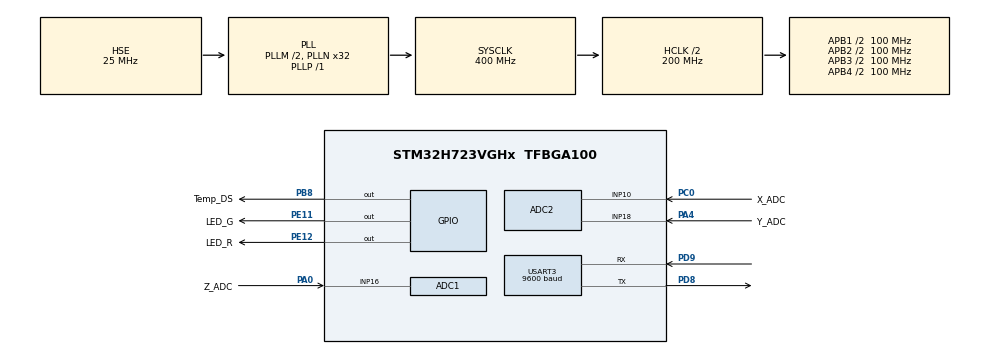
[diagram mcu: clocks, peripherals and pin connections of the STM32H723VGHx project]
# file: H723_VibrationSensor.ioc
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ADC1.Channel-3\#ChannelRegularConversion=ADC_CHANNEL_16
ADC1.ClockPrescaler=ADC_CLOCK_ASYNC_DIV2
ADC1.ContinuousConvMode=DISABLE
ADC1.ConversionDataManagement=ADC_CONVERSIONDATA_DMA_CIRCULAR
ADC1.ExternalTrigConv=ADC_EXTERNALTRIG_T2_TRGO
ADC1.NbrOfConversionFlag=1
ADC1.OffsetNumber-3\#ChannelRegularConversion=ADC_OFFSET_NONE
ADC1.OffsetSignedSaturation-3\#ChannelRegularConversion=DISABLE
ADC1.Overrun=ADC_OVR_DATA_OVERWRITTEN
ADC1.Rank-3\#ChannelRegularConversion=1
ADC1.SamplingTime-3\#ChannelRegularConversion=ADC_SAMPLETIME_64CYCLES_5
ADC1.master=1
ADC2.Channel-1\#ChannelRegularConversion=ADC_CHANNEL_10
ADC2.Channel-3\#ChannelRegularConversion=ADC_CHANNEL_18
ADC2.ClockPrescaler=ADC_CLOCK_ASYNC_DIV2
ADC2.ContinuousConvMode=DISABLE
ADC2.ConversionDataManagement=ADC_CONVERSIONDATA_DMA_CIRCULAR
ADC2.ExternalTrigConv=ADC_EXTERNALTRIG_T3_TRGO
ADC2.NbrOfConversion=2
ADC2.NbrOfConversionFlag=1
ADC2.OffsetNumber-1\#ChannelRegularConversion=ADC_OFFSET_NONE
ADC2.OffsetNumber-3\#ChannelRegularConversion=ADC_OFFSET_NONE
ADC2.OffsetSignedSaturation-1\#ChannelRegularConversion=DISABLE
ADC2.OffsetSignedSaturation-3\#ChannelRegularConversion=DISABLE
ADC2.Overrun=ADC_OVR_DATA_OVERWRITTEN
ADC2.Rank-1\#ChannelRegularConversion=1
ADC2.Rank-3\#ChannelRegularConversion=2
ADC2.SamplingTime-1\#ChannelRegularConversion=ADC_SAMPLETIME_8CYCLES_5
ADC2.SamplingTime-3\#ChannelRegularConversion=ADC_SAMPLETIME_8CYCLES_5
CORTEX_M7.default_mode_Activation=1
Dma.ADC1.2.Direction=DMA_PERIPH_TO_MEMORY
Dma.ADC1.2.EventEnable=DISABLE
Dma.ADC1.2.FIFOMode=DMA_FIFOMODE_DISABLE
Dma.ADC1.2.Instance=DMA2_Stream0
Dma.ADC1.2.MemDataAlignment=DMA_MDATAALIGN_HALFWORD
Dma.ADC1.2.MemInc=DMA_MINC_ENABLE
Dma.ADC1.2.Mode=DMA_CIRCULAR
Dma.ADC1.2.PeriphDataAlignment=DMA_PDATAALIGN_HALFWORD
Dma.ADC1.2.PeriphInc=DMA_PINC_DISABLE
Dma.ADC1.2.Polarity=HAL_DMAMUX_REQ_GEN_RISING
Dma.ADC1.2.Priority=DMA_PRIORITY_LOW
Dma.ADC1.2.RequestNumber=1
Dma.ADC1.2.SignalID=NONE
Dma.ADC1.2.SyncEnable=DISABLE
Dma.ADC1.2.SyncPolarity=HAL_DMAMUX_SYNC_NO_EVENT
Dma.ADC1.2.SyncRequestNumber=1
Dma.ADC1.2.SyncSignalID=NONE
Dma.ADC2.3.Direction=DMA_PERIPH_TO_MEMORY
Dma.ADC2.3.EventEnable=DISABLE
Dma.ADC2.3.FIFOMode=DMA_FIFOMODE_DISABLE
Dma.ADC2.3.Instance=DMA2_Stream1
Dma.ADC2.3.MemDataAlignment=DMA_MDATAALIGN_HALFWORD
Dma.ADC2.3.MemInc=DMA_MINC_ENABLE
Dma.ADC2.3.Mode=DMA_CIRCULAR
Dma.ADC2.3.PeriphDataAlignment=DMA_PDATAALIGN_HALFWORD
Dma.ADC2.3.PeriphInc=DMA_PINC_DISABLE
Dma.ADC2.3.Polarity=HAL_DMAMUX_REQ_GEN_RISING
Dma.ADC2.3.Priority=DMA_PRIORITY_LOW
Dma.ADC2.3.RequestNumber=1
Dma.ADC2.3.SignalID=NONE
Dma.ADC2.3.SyncEnable=DISABLE
Dma.ADC2.3.SyncPolarity=HAL_DMAMUX_SYNC_NO_EVENT
Dma.ADC2.3.SyncRequestNumber=1
Dma.ADC2.3.SyncSignalID=NONE
Dma.Request0=USART3_RX
Dma.Request1=USART3_TX
Dma.Request2=ADC1
Dma.Request3=ADC2
Dma.USART3_RX.0.Direction=DMA_PERIPH_TO_MEMORY
Dma.USART3_RX.0.EventEnable=DISABLE
Dma.USART3_RX.0.FIFOMode=DMA_FIFOMODE_DISABLE
Dma.USART3_RX.0.Instance=DMA1_Stream0
Dma.USART3_RX.0.MemDataAlignment=DMA_MDATAALIGN_BYTE
Dma.USART3_RX.0.MemInc=DMA_MINC_ENABLE
Dma.USART3_RX.0.Mode=DMA_CIRCULAR
Dma.USART3_RX.0.PeriphDataAlignment=DMA_PDATAALIGN_BYTE
Dma.USART3_RX.0.PeriphInc=DMA_PINC_DISABLE
Dma.USART3_RX.0.Polarity=HAL_DMAMUX_REQ_GEN_RISING
Dma.USART3_RX.0.Priority=DMA_PRIORITY_LOW
Dma.USART3_RX.0.RequestNumber=1
Dma.USART3_RX.0.SignalID=NONE
Dma.USART3_RX.0.SyncEnable=DISABLE
Dma.USART3_RX.0.SyncPolarity=HAL_DMAMUX_SYNC_NO_EVENT
Dma.USART3_RX.0.SyncRequestNumber=1
Dma.USART3_RX.0.SyncSignalID=NONE
Dma.USART3_TX.1.Direction=DMA_MEMORY_TO_PERIPH
Dma.USART3_TX.1.EventEnable=DISABLE
Dma.USART3_TX.1.FIFOMode=DMA_FIFOMODE_DISABLE
Dma.USART3_TX.1.Instance=DMA1_Stream1
Dma.USART3_TX.1.MemDataAlignment=DMA_MDATAALIGN_BYTE
Dma.USART3_TX.1.MemInc=DMA_MINC_ENABLE
Dma.USART3_TX.1.Mode=DMA_NORMAL
Dma.USART3_TX.1.PeriphDataAlignment=DMA_PDATAALIGN_BYTE
Dma.USART3_TX.1.PeriphInc=DMA_PINC_DISABLE
Dma.USART3_TX.1.Polarity=HAL_DMAMUX_REQ_GEN_RISING
Dma.USART3_TX.1.Priority=DMA_PRIORITY_LOW
Dma.USART3_TX.1.RequestNumber=1
Dma.USART3_TX.1.SignalID=NONE
Dma.USART3_TX.1.SyncEnable=DISABLE
Dma.USART3_TX.1.SyncPolarity=HAL_DMAMUX_SYNC_NO_EVENT
Dma.USART3_TX.1.SyncRequestNumber=1
Dma.USART3_TX.1.SyncSignalID=NONE
IWDG1.Prescaler=IWDG_PRESCALER_64
Mcu.Family=STM32H7
Mcu.Name=STM32H723VGHx
Mcu.Package=TFBGA100
NVIC.ADC_IRQn=true\:0\:0\:false\:false\:true\:true\:true\:true
NVIC.DMA1_Stream0_IRQn=true\:0\:0\:false\:false\:true\:false\:true\:true
NVIC.DMA1_Stream1_IRQn=true\:0\:0\:false\:false\:true\:false\:true\:true
NVIC.DMA2_Stream0_IRQn=true\:0\:0\:false\:false\:true\:false\:true\:true
NVIC.DMA2_Stream1_IRQn=true\:0\:0\:false\:false\:true\:false\:true\:true
NVIC.PriorityGroup=NVIC_PRIORITYGROUP_4
NVIC.TIM2_IRQn=true\:0\:0\:false\:false\:true\:true\:true\:true
NVIC.TIM3_IRQn=true\:0\:0\:false\:false\:true\:true\:true\:true
NVIC.USART3_IRQn=true\:0\:0\:false\:false\:true\:false\:true\:true
PA0.GPIO_Label=Z_ADC
PA0.Mode=IN16-Single-Ended
PA0.Signal=ADC1_INP16
PA13(JTMS/SWDIO).Mode=Serial_Wire
PA13(JTMS/SWDIO).Signal=DEBUG_JTMS-SWDIO
PA14(JTCK/SWCLK).Mode=Serial_Wire
PA14(JTCK/SWCLK).Signal=DEBUG_JTCK-SWCLK
PA4.GPIO_Label=Y_ADC
PA4.Signal=ADCx_INP18
PB8.GPIO_Label=Temp_DS
PB8.Signal=GPIO_Output
PC0.GPIO_Label=X_ADC
PC0.Signal=ADCx_INP10
PC14-OSC32_IN.Mode=LSE-External-Oscillator
PC14-OSC32_IN.Signal=RCC_OSC32_IN
PC15-OSC32_OUT.Mode=LSE-External-Oscillator
PC15-OSC32_OUT.Signal=RCC_OSC32_OUT
PD8.Mode=Asynchronous
PD8.Signal=USART3_TX
PD9.Mode=Asynchronous
PD9.Signal=USART3_RX
PE11.GPIO_Label=LED_G
PE11.PinState=GPIO_PIN_SET
PE11.Signal=GPIO_Output
PE12.GPIO_Label=LED_R
PE12.PinState=GPIO_PIN_SET
PE12.Signal=GPIO_Output
PH0-OSC_IN.Mode=HSE-External-Oscillator
PH0-OSC_IN.Signal=RCC_OSC_IN
PH1-OSC_OUT.Mode=HSE-External-Oscillator
PH1-OSC_OUT.Signal=RCC_OSC_OUT
ProjectManager.HeapSize=0x200
ProjectManager.StackSize=0x400
ProjectManager.TargetToolchain=MDK-ARM V5.32
RCC.ADCFreq_Value=96000671.38671875
RCC.APB1Freq_Value=100000000
RCC.APB2Freq_Value=100000000
RCC.APB3Freq_Value=100000000
RCC.APB4Freq_Value=100000000
RCC.CortexFreq_Value=400000000
RCC.D1PPRE=RCC_APB3_DIV2
RCC.D2PPRE1=RCC_APB1_DIV2
RCC.D2PPRE2=RCC_APB2_DIV2
RCC.D3PPRE=RCC_APB4_DIV2
RCC.DIVM1=2
RCC.DIVM2=2
RCC.DIVN1=32
RCC.DIVN2=15
RCC.DIVP1=1
RCC.HCLKFreq_Value=200000000
RCC.HPRE=RCC_HCLK_DIV2
RCC.HSE_VALUE=25000000
RCC.PLL2FRACN=2950
RCC.PLLFRACN=0
RCC.PLLSourceVirtual=RCC_PLLSOURCE_HSE
RCC.SYSCLKFreq_VALUE=400000000
RCC.SYSCLKSource=RCC_SYSCLKSOURCE_PLLCLK
RCC.USBFreq_Value=200000000
SH.ADCx_INP10.0=ADC2_INP10,IN10-Single-Ended
SH.ADCx_INP18.0=ADC2_INP18,IN18-Single-Ended
TIM2.AutoReloadPreload=TIM_AUTORELOAD_PRELOAD_ENABLE
TIM2.Period=7812
TIM2.Prescaler=0
TIM2.TIM_MasterOutputTrigger=TIM_TRGO_UPDATE
TIM3.AutoReloadPreload=TIM_AUTORELOAD_PRELOAD_ENABLE
TIM3.Period=7812
TIM3.Prescaler=0
TIM3.TIM_MasterOutputTrigger=TIM_TRGO_UPDATE
USART3.BaudRate=9600
USART3.StopBits=STOPBITS_2
USART3.VirtualMode-Asynchronous=VM_ASYNC
VP_IWDG1_VS_IWDG.Mode=IWDG_Activate
VP_TIM2_VS_ClockSourceINT.Mode=Internal
VP_TIM3_VS_ClockSourceINT.Mode=Internal
board=custom

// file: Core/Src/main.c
/* USER CODE BEGIN Header */
/**
  ******************************************************************************
  * @file           : main.c
  * @brief          : Main program body
  ******************************************************************************
  * @attention
  *
  * Copyright (c) 2025 STMicroelectronics.
  * All rights reserved.
  *
  * This software is licensed under terms that can be found in the LICENSE file
  * in the root directory of this software component.
  * If no LICENSE file comes with this software, it is provided AS-IS.
  *
  ******************************************************************************
  */
/* USER CODE END Header */
#include "main.h"
#include "adc.h"
#include "dma.h"
#include "iwdg.h"
#include "tim.h"
#include "usart.h"
#include "gpio.h"

/* USER CODE BEGIN PD */
#define MASTER_SILENT_RESET_MS 10000U

//U3接收
__attribute__((section(".ARM.__at_0x24024000"))) uint8_t rx_dma_buf[RX_DMA_BUF_SZ];
__attribute__((section(".ARM.__at_0x24024800"))) uint8_t rx_frame_buf[RX_FRAME_MAX];
__attribute__((section(".ARM.__at_0x24025000"))) uint8_t g_modbus_tx_buf[2048];
volatile uint16_t rx_frame_len = 0;
volatile uint8_t  rx_frame_ready = 0;

//FLAH
static uint8_t g_uid[12];
uint8_t LOCAL_DEVICE_ADDR = FLASH_CFG_DEFAULT_ADDR;
uint16_t g_cfg_freq_hz = FLASH_CFG_DEFAULT_FREQ;
uint16_t g_cfg_points  = FLASH_CFG_DEFAULT_POINTS;
uint16_t wave_points = FLASH_CFG_DEFAULT_POINTS;

//组态结构体
Config_t device_config;
//ADC
__attribute__((section(".ARM.__at_0x24000000"))) uint16_t ADC_Buffer_Z[FFT_N_Z * 2];// Z轴8192点乒乓结构
__attribute__((section(".ARM.__at_0x24004000"))) uint16_t ADC_Buffer_XY[FFT_N_XY * 2 * 2];// XY轴(1024点 * 2通道) * 2 = 4096点乒乓
__attribute__((section(".ARM.__at_0x2400C000"))) float Tx_Wave_Buffer_Z[LONG_WAVE_LEN];// 专门用于发送的“冷数据”区
uint16_t Process_Buffer_Z[FFT_N_Z];                   // Z轴计算区
uint16_t Process_Buffer_XY[FFT_N_XY * 2];             // XY轴计算区

float32_t g_data_x[FFT_N_XY];  // 对应 X 轴点数
float32_t g_data_y[FFT_N_XY];  // 对应 Y 轴点数
float32_t g_data_z[FFT_N_Z];   // 对应 Z 轴点数

AxisFeatureValue X_data;
AxisFeatureValue Y_data;
AxisFeatureValue Z_data;

float Temp = 0.0f;
uint32_t temp_timer = 0;      // 用于计时
uint8_t  temp_state = 0;      // 状态机：0=需要启动转换, 1=等待转换完成

typedef enum {
    BUFFER_IDLE = 0,
    BUFFER_HALF_READY, // 前半段好了
    BUFFER_FULL_READY  // 后半段好了
} BufferState_t;

volatile BufferState_t z_buffer_state = BUFFER_IDLE;
volatile BufferState_t xy_buffer_state = BUFFER_IDLE;

volatile uint8_t z_data_ready_flag = 0;
volatile uint8_t xy_data_ready_flag = 0;

/* USER CODE END PD */

/* USER CODE BEGIN PV */
static uint32_t s_last_master_seen_tick = 0U;

/* USER CODE END PV */

void SystemClock_Config(void);
void PeriphCommonClock_Config(void);
static void MPU_Config(void);

/* USER CODE BEGIN 0 */

void App_ConfigInit()
{
//    UID_Fill_BE_w0w1w2(uid_me);

		uint8_t  addr;
    uint16_t freq;
    uint16_t points;

    /*从 Flash 载入设备地址，不合法则为 0x00(广播地址) */
		Flash_ReadConfig(&addr, &freq, &points);
		if (addr == 0xFF) addr = 0x00;

		LOCAL_DEVICE_ADDR = addr;
    g_cfg_freq_hz     = freq;
    g_cfg_points      = points;
    wave_points       = points;

		ACQ_Init(g_cfg_freq_hz, g_cfg_points);
}

void Uart3_RxStart(void)
{
    __HAL_UART_CLEAR_IDLEFLAG(&huart3);          // 清一次 IDLE 残留
    __HAL_UART_ENABLE_IT(&huart3, UART_IT_IDLE);
		HAL_UART_Receive_DMA(&huart3, rx_dma_buf, RX_DMA_BUF_SZ);
}

void Start_ADC_DMA(void)
{
	  HAL_TIM_Base_Stop(&htim2);
    HAL_TIM_Base_Stop(&htim3);
//		TIM2->CR2 &= ~TIM_CR2_MMS;       // 清除旧配置
//    TIM2->CR2 |= TIM_CR2_MMS_1;      // 设置为 010 (Update Event)
	  HAL_ADCEx_Calibration_Start(&hadc1, ADC_CALIB_OFFSET, ADC_SINGLE_ENDED);
		HAL_ADCEx_Calibration_Start(&hadc2, ADC_CALIB_OFFSET, ADC_SINGLE_ENDED);
    HAL_ADC_Start_DMA(&hadc1, (uint32_t*)ADC_Buffer_Z, FFT_N_Z * 2);
    HAL_ADC_Start_DMA(&hadc2, (uint32_t*)ADC_Buffer_XY, FFT_N_XY * 2 * 2);
	  HAL_TIM_Base_Start(&htim2);
		HAL_TIM_Base_Start(&htim3);
		__NOP();
}

void Stop_ADC_DMA(void)
{
	  HAL_ADC_Stop_DMA(&hadc1);
    HAL_ADC_Stop_DMA(&hadc2);
    HAL_TIM_Base_Stop(&htim2);
    HAL_TIM_Base_Stop(&htim3);
}

/* USER CODE END 0 */

int main(void)
{

  /* USER CODE BEGIN 1 */
	SCB->VTOR = 0x08020000;//中断向量表偏移
	//HAL_MPU_Disable();
	//SCB_DisableDCache();
	//MPU_Config();
	//SCB_DisableDCache();
  /* USER CODE END 1 */

  /* MPU Configuration--------------------------------------------------------*/
  MPU_Config();

  /* MCU Configuration--------------------------------------------------------*/

  /* Reset of all peripherals, Initializes the Flash interface and the Systick. */
  HAL_Init();

  /* Configure the system clock */
  SystemClock_Config();

/* Configure the peripherals common clocks */
  PeriphCommonClock_Config();

  /* USER CODE BEGIN SysInit */
	Delay_Init();

  /* USER CODE END SysInit */

  /* Initialize all configured peripherals */
  MX_GPIO_Init();
  MX_DMA_Init();
  MX_USART3_UART_Init();
  MX_ADC1_Init();
  MX_ADC2_Init();
  MX_TIM2_Init();
  MX_TIM3_Init();
  MX_IWDG1_Init();
  /* USER CODE BEGIN 2 */
	//使能串口中断和接收
	__enable_irq();
	Uart3_RxStart();
	App_ConfigInit();
	Calc_Init();
	Ds18b20_Init();
  Start_ADC_DMA();
	rx_frame_ready = 0;
  s_last_master_seen_tick = HAL_GetTick();
  /* USER CODE END 2 */

  /* Infinite loop */
  while (1)
  {

    /* USER CODE BEGIN 3 */
    uint32_t now = HAL_GetTick();
    Uart3_ServiceRxIdleTimeout();
    if (rx_frame_ready)
      {
        uint16_t frame_len = rx_frame_len;
        rx_frame_ready = 0;
        if (Protocol_HandleRxFrame(rx_frame_buf, frame_len, LOCAL_DEVICE_ADDR)) {
            s_last_master_seen_tick = now;
        }
      }

    if ((now - s_last_master_seen_tick) >= MASTER_SILENT_RESET_MS)
      {
        HAL_Delay(20);
        HAL_NVIC_SystemReset();
      }

    if (z_data_ready_flag && xy_data_ready_flag)
    {
        // 清除标志位
        __disable_irq();
        z_data_ready_flag = 0;
        xy_data_ready_flag = 0;
        __enable_irq();
        Process_Data(Process_Buffer_Z, Process_Buffer_XY);
    }
    if (temp_state == 0)
      {
          if (now - temp_timer > 500) // 每5秒发起一次
          {
              Ds18b20_Start(); // 发送 0x44
              temp_timer = now; // 记录发起时间
              temp_state = 1;   // 切换到等待状态
          }
      }
    else if (temp_state == 1)
      {
          if (now - temp_timer > 800) // 留一点余量，给800ms
          {
              short raw_temp = Ds18b20_Read_Result();

              if((raw_temp & 0XF800) > 0) // 负温
              {
                  raw_temp = ~raw_temp + 1;
                  Temp = -(float)raw_temp / 16.0f;
              }
              else // 正温
              {
                  Temp = (float)(raw_temp & 0X07FF) / 16.0f;
              }
              // printf("Async Temp: %.1f\r\n", Temp);
              temp_state = 0;
          }
      }
		HAL_IWDG_Refresh(&hiwdg1);
	}
  /* USER CODE END 3 */
}

void SystemClock_Config(void)
{
  RCC_OscInitTypeDef RCC_OscInitStruct = {0};
  RCC_ClkInitTypeDef RCC_ClkInitStruct = {0};

  /** Supply configuration update enable
  */
  HAL_PWREx_ConfigSupply(PWR_LDO_SUPPLY);

  /** Configure the main internal regulator output voltage
  */
  __HAL_PWR_VOLTAGESCALING_CONFIG(PWR_REGULATOR_VOLTAGE_SCALE1);

  while(!__HAL_PWR_GET_FLAG(PWR_FLAG_VOSRDY)) {}

  /** Initializes the RCC Oscillators according to the specified parameters
  * in the RCC_OscInitTypeDef structure.
  */
  RCC_OscInitStruct.OscillatorType = RCC_OSCILLATORTYPE_LSI|RCC_OSCILLATORTYPE_HSE;
  RCC_OscInitStruct.HSEState = RCC_HSE_ON;
  RCC_OscInitStruct.LSIState = RCC_LSI_ON;
  RCC_OscInitStruct.PLL.PLLState = RCC_PLL_ON;
  RCC_OscInitStruct.PLL.PLLSource = RCC_PLLSOURCE_HSE;
  RCC_OscInitStruct.PLL.PLLM = 2;
  RCC_OscInitStruct.PLL.PLLN = 32;
  RCC_OscInitStruct.PLL.PLLP = 1;
  RCC_OscInitStruct.PLL.PLLQ = 2;
  RCC_OscInitStruct.PLL.PLLR = 2;
  RCC_OscInitStruct.PLL.PLLRGE = RCC_PLL1VCIRANGE_3;
  RCC_OscInitStruct.PLL.PLLVCOSEL = RCC_PLL1VCOWIDE;
  RCC_OscInitStruct.PLL.PLLFRACN = 0;
  if (HAL_RCC_OscConfig(&RCC_OscInitStruct) != HAL_OK)
  {
    Error_Handler();
  }

  /** Initializes the CPU, AHB and APB buses clocks
  */
  RCC_ClkInitStruct.ClockType = RCC_CLOCKTYPE_HCLK|RCC_CLOCKTYPE_SYSCLK
                              |RCC_CLOCKTYPE_PCLK1|RCC_CLOCKTYPE_PCLK2
                              |RCC_CLOCKTYPE_D3PCLK1|RCC_CLOCKTYPE_D1PCLK1;
  RCC_ClkInitStruct.SYSCLKSource = RCC_SYSCLKSOURCE_PLLCLK;
  RCC_ClkInitStruct.SYSCLKDivider = RCC_SYSCLK_DIV1;
  RCC_ClkInitStruct.AHBCLKDivider = RCC_HCLK_DIV2;
  RCC_ClkInitStruct.APB3CLKDivider = RCC_APB3_DIV2;
  RCC_ClkInitStruct.APB1CLKDivider = RCC_APB1_DIV2;
  RCC_ClkInitStruct.APB2CLKDivider = RCC_APB2_DIV2;
  RCC_ClkInitStruct.APB4CLKDivider = RCC_APB4_DIV2;

  if (HAL_RCC_ClockConfig(&RCC_ClkInitStruct, FLASH_LATENCY_2) != HAL_OK)
  {
    Error_Handler();
  }
}

void PeriphCommonClock_Config(void)
{
  RCC_PeriphCLKInitTypeDef PeriphClkInitStruct = {0};

  /** Initializes the peripherals clock
  */
  PeriphClkInitStruct.PeriphClockSelection = RCC_PERIPHCLK_ADC;
  PeriphClkInitStruct.PLL2.PLL2M = 2;
  PeriphClkInitStruct.PLL2.PLL2N = 15;
  PeriphClkInitStruct.PLL2.PLL2P = 2;
  PeriphClkInitStruct.PLL2.PLL2Q = 2;
  PeriphClkInitStruct.PLL2.PLL2R = 2;
  PeriphClkInitStruct.PLL2.PLL2RGE = RCC_PLL2VCIRANGE_3;
  PeriphClkInitStruct.PLL2.PLL2VCOSEL = RCC_PLL2VCOWIDE;
  PeriphClkInitStruct.PLL2.PLL2FRACN = 2950;
  PeriphClkInitStruct.AdcClockSelection = RCC_ADCCLKSOURCE_PLL2;
  if (HAL_RCCEx_PeriphCLKConfig(&PeriphClkInitStruct) != HAL_OK)
  {
    Error_Handler();
  }
}

/* USER CODE BEGIN 4 */
//半传输完成回调 BufferA
void HAL_ADC_ConvHalfCpltCallback(ADC_HandleTypeDef* hadc)
{
    // Z 轴处理
    if (hadc->Instance == ADC1)
    {
        //SCB_InvalidateDCache_by_Addr((uint32_t*)&ADC_Buffer_Z[0], FFT_N_Z * 2);

        // 把前半段 (0 ~ N-1) 拷贝到计算区
        memcpy(Process_Buffer_Z, &ADC_Buffer_Z[0], FFT_N_Z * sizeof(uint16_t));

        z_data_ready_flag = 1;
    }
    // XY 轴处理
    else if (hadc->Instance == ADC2)
    {
        //SCB_InvalidateDCache_by_Addr((uint32_t*)&ADC_Buffer_XY[0], FFT_N_XY * 2 * 2);

        // XY 是交错的，前半段长度是 FFT_N_XY * 2
        memcpy(Process_Buffer_XY, &ADC_Buffer_XY[0], (FFT_N_XY * 2) * sizeof(uint16_t));

        xy_data_ready_flag = 1;
    }
}

// DMA填满了后半段 BufferB
void HAL_ADC_ConvCpltCallback(ADC_HandleTypeDef* hadc)
{
    // Z 轴处理
    if (hadc->Instance == ADC1)
    {
        //SCB_InvalidateDCache_by_Addr((uint32_t*)&ADC_Buffer_Z[FFT_N_Z], FFT_N_Z * 2);

        // 把后半段 (N ~ 2N-1) 拷贝到计算区
        memcpy(Process_Buffer_Z, &ADC_Buffer_Z[FFT_N_Z], FFT_N_Z * sizeof(uint16_t));

        z_data_ready_flag = 1;
    }
    // XY 轴处理
    else if (hadc->Instance == ADC2)
    {
        //SCB_InvalidateDCache_by_Addr((uint32_t*)&ADC_Buffer_XY[FFT_N_XY * 2], FFT_N_XY * 2 * 2);

        // 源地址偏移 FFT_N_XY * 2
        memcpy(Process_Buffer_XY, &ADC_Buffer_XY[FFT_N_XY * 2], (FFT_N_XY * 2) * sizeof(uint16_t));

        xy_data_ready_flag = 1;
    }
}

void HAL_UART_TxCpltCallback(UART_HandleTypeDef *huart)
{
    if (huart->Instance == USART3)
    {
        g_tx_busy = 0;
    }
}

void HAL_UART_ErrorCallback(UART_HandleTypeDef *huart)
{
    if (huart->Instance == USART3)
    {
        g_tx_busy = 0;
        Uart3_RecoverFromError();
    }
}

void HAL_UART_AbortTransmitCpltCallback(UART_HandleTypeDef *huart)
{
    if (huart->Instance == USART3)
    {
        g_tx_busy = 0;
    }
}

void HAL_UART_AbortCpltCallback(UART_HandleTypeDef *huart)
{
    if (huart->Instance == USART3)
    {
        g_tx_busy = 0;
        Uart3_RecoverFromError();
    }
}

/* USER CODE END 4 */

 /* MPU Configuration */

void MPU_Config(void)
{
  MPU_Region_InitTypeDef MPU_InitStruct = {0};

  /* Disables the MPU */
  HAL_MPU_Disable();

  /** Initializes and configures the Region and the memory to be protected
  */
  MPU_InitStruct.Enable = MPU_REGION_ENABLE;
  MPU_InitStruct.Number = MPU_REGION_NUMBER0;
  MPU_InitStruct.BaseAddress = 0x0;
  MPU_InitStruct.Size = MPU_REGION_SIZE_4GB;
  MPU_InitStruct.SubRegionDisable = 0x87;
  MPU_InitStruct.TypeExtField = MPU_TEX_LEVEL0;
  MPU_InitStruct.AccessPermission = MPU_REGION_NO_ACCESS;
  MPU_InitStruct.DisableExec = MPU_INSTRUCTION_ACCESS_DISABLE;
  MPU_InitStruct.IsShareable = MPU_ACCESS_SHAREABLE;
  MPU_InitStruct.IsCacheable = MPU_ACCESS_NOT_CACHEABLE;
  MPU_InitStruct.IsBufferable = MPU_ACCESS_NOT_BUFFERABLE;

  HAL_MPU_ConfigRegion(&MPU_InitStruct);
  /* Enables the MPU */
  HAL_MPU_Enable(MPU_PRIVILEGED_DEFAULT);

}

void Error_Handler(void)
{
  __disable_irq();
  while (1)
  {
  }
}
